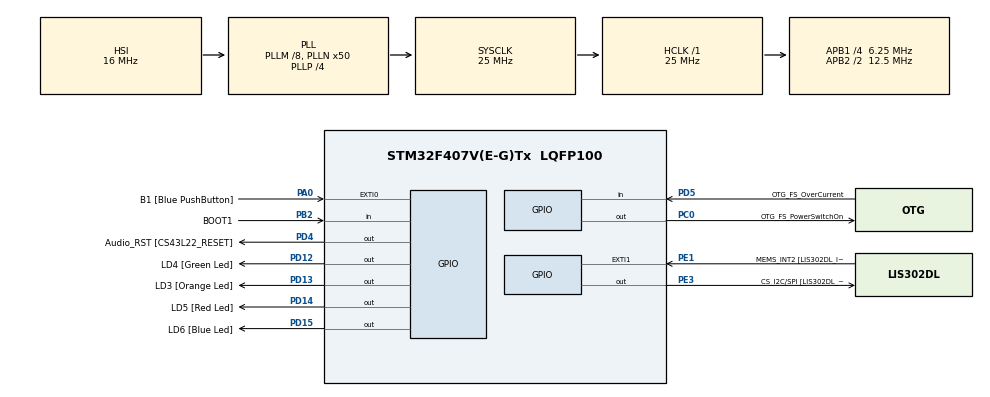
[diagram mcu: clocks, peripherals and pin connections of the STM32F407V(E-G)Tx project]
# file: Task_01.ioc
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Mcu.Family=STM32F4
Mcu.Name=STM32F407V(E-G)Tx
Mcu.Package=LQFP100
NVIC.PriorityGroup=NVIC_PRIORITYGROUP_4
NVIC.TIM6_DAC_IRQn=true\:0\:0\:false\:false\:true\:false\:true\:true
NVIC.TimeBase=TIM6_DAC_IRQn
NVIC.TimeBaseIP=TIM6
PA0-WKUP.GPIO_Label=B1 [Blue PushButton]
PA0-WKUP.Signal=GPXTI0
PA10.GPIO_Label=OTG_FS_ID
PA10.GPIO_Mode=GPIO_MODE_AF_PP
PA10.GPIO_PuPd=GPIO_NOPULL
PA10.GPIO_Speed=GPIO_SPEED_FREQ_LOW
PA10.Signal=USB_OTG_FS_ID
PA11.GPIO_Label=OTG_FS_DM
PA11.GPIO_Mode=GPIO_MODE_AF_PP
PA11.GPIO_PuPd=GPIO_NOPULL
PA11.GPIO_Speed=GPIO_SPEED_FREQ_LOW
PA11.Signal=USB_OTG_FS_DM
PA12.GPIO_Label=OTG_FS_DP
PA12.GPIO_Mode=GPIO_MODE_AF_PP
PA12.GPIO_PuPd=GPIO_NOPULL
PA12.GPIO_Speed=GPIO_SPEED_FREQ_LOW
PA12.Signal=USB_OTG_FS_DP
PA13.GPIO_Label=SWDIO
PA13.Signal=SYS_JTMS-SWDIO
PA14.GPIO_Label=SWCLK
PA14.Signal=SYS_JTCK-SWCLK
PA4.GPIO_Label=I2S3_WS [CS43L22_LRCK]
PA4.GPIO_Mode=GPIO_MODE_AF_PP
PA4.GPIO_PuPd=GPIO_NOPULL
PA4.GPIO_Speed=GPIO_SPEED_FREQ_LOW
PA4.Signal=I2S3_WS
PA5.GPIO_Label=SPI1_SCK [LIS302DL_SCL/SPC]
PA5.GPIO_Mode=GPIO_MODE_AF_PP
PA5.GPIO_PuPd=GPIO_NOPULL
PA5.GPIO_Speed=GPIO_SPEED_FREQ_LOW
PA5.Signal=SPI1_SCK
PA6.GPIO_Label=SPI1_MISO [LIS302DL_SDO]
PA6.GPIO_Mode=GPIO_MODE_AF_PP
PA6.GPIO_PuPd=GPIO_NOPULL
PA6.GPIO_Speed=GPIO_SPEED_FREQ_LOW
PA6.Signal=SPI1_MISO
PA7.GPIO_Label=SPI1_MOSI [LIS302DL_SDA/SDI/SDO]
PA7.GPIO_Mode=GPIO_MODE_AF_PP
PA7.GPIO_PuPd=GPIO_NOPULL
PA7.GPIO_Speed=GPIO_SPEED_FREQ_LOW
PA7.Signal=SPI1_MOSI
PA9.GPIO_Label=VBUS_FS
PA9.GPIO_Mode=GPIO_MODE_INPUT
PA9.GPIO_PuPd=GPIO_NOPULL
PA9.Signal=USB_OTG_FS_VBUS
PB10.GPIO_Label=CLK_IN [MP45DT02_CLK]
PB10.GPIO_Mode=GPIO_MODE_AF_PP
PB10.GPIO_PuPd=GPIO_NOPULL
PB10.GPIO_Speed=GPIO_SPEED_FREQ_LOW
PB10.Signal=I2S2_CK
PB2.GPIO_Label=BOOT1
PB2.GPIO_Mode=GPIO_MODE_INPUT
PB2.GPIO_PuPd=GPIO_NOPULL
PB2.Signal=GPIO_Input
PB3.GPIO_Label=SWO
PB3.Signal=SYS_JTDO-SWO
PB6.GPIO_Label=Audio_SCL [CS43L22_SCL]
PB6.GPIO_Mode=GPIO_MODE_AF_OD
PB6.GPIO_PuPd=GPIO_NOPULL
PB6.GPIO_Speed=GPIO_SPEED_FREQ_LOW
PB6.Signal=I2C1_SCL
PB9.GPIO_Label=Audio_SDA [CS43L22_SDA]
PB9.GPIO_Mode=GPIO_MODE_AF_OD
PB9.GPIO_PuPd=GPIO_NOPULL
PB9.GPIO_Speed=GPIO_SPEED_FREQ_LOW
PB9.Signal=I2C1_SDA
PC0.GPIO_Label=OTG_FS_PowerSwitchOn
PC0.GPIO_PuPd=GPIO_NOPULL
PC0.GPIO_Speed=GPIO_SPEED_FREQ_LOW
PC0.PinState=GPIO_PIN_SET
PC0.Signal=GPIO_Output
PC10.GPIO_Label=I2S3_SCK [CS43L22_SCLK]
PC10.GPIO_Mode=GPIO_MODE_AF_PP
PC10.GPIO_PuPd=GPIO_NOPULL
PC10.GPIO_Speed=GPIO_SPEED_FREQ_LOW
PC10.Signal=I2S3_CK
PC12.GPIO_Label=I2S3_SD [CS43L22_SDIN]
PC12.GPIO_Mode=GPIO_MODE_AF_PP
PC12.GPIO_PuPd=GPIO_NOPULL
PC12.GPIO_Speed=GPIO_SPEED_FREQ_LOW
PC12.Signal=I2S3_SD
PC14-OSC32_IN.GPIO_Label=PC14-OSC32_IN
PC14-OSC32_IN.Signal=RCC_OSC32_IN
PC15-OSC32_OUT.GPIO_Label=PC15-OSC32_OUT
PC15-OSC32_OUT.Signal=RCC_OSC32_OUT
PC3.GPIO_Label=PDM_OUT [MP45DT02_DOUT]
PC3.GPIO_Mode=GPIO_MODE_AF_PP
PC3.GPIO_PuPd=GPIO_NOPULL
PC3.GPIO_Speed=GPIO_SPEED_FREQ_LOW
PC3.Signal=I2S2_SD
PC7.GPIO_Label=I2S3_MCK [CS43L22_MCLK]
PC7.GPIO_Mode=GPIO_MODE_AF_PP
PC7.GPIO_PuPd=GPIO_NOPULL
PC7.GPIO_Speed=GPIO_SPEED_FREQ_LOW
PC7.Signal=I2S3_MCK
PD12.GPIO_Label=LD4 [Green Led]
PD12.GPIO_PuPd=GPIO_NOPULL
PD12.GPIO_Speed=GPIO_SPEED_FREQ_LOW
PD12.Signal=GPIO_Output
PD13.GPIO_Label=LD3 [Orange Led]
PD13.GPIO_PuPd=GPIO_NOPULL
PD13.GPIO_Speed=GPIO_SPEED_FREQ_LOW
PD13.Signal=GPIO_Output
PD14.GPIO_Label=LD5 [Red Led]
PD14.GPIO_PuPd=GPIO_NOPULL
PD14.GPIO_Speed=GPIO_SPEED_FREQ_LOW
PD14.Signal=GPIO_Output
PD15.GPIO_Label=LD6 [Blue Led]
PD15.GPIO_PuPd=GPIO_NOPULL
PD15.GPIO_Speed=GPIO_SPEED_FREQ_LOW
PD15.Signal=GPIO_Output
PD4.GPIO_Label=Audio_RST [CS43L22_RESET]
PD4.GPIO_PuPd=GPIO_NOPULL
PD4.GPIO_Speed=GPIO_SPEED_FREQ_LOW
PD4.Signal=GPIO_Output
PD5.GPIO_Label=OTG_FS_OverCurrent
PD5.GPIO_Mode=GPIO_MODE_INPUT
PD5.GPIO_PuPd=GPIO_NOPULL
PD5.Signal=GPIO_Input
PE1.GPIO_Label=MEMS_INT2 [LIS302DL_INT2]
PE1.GPIO_ModeDefaultEXTI=GPIO_MODE_EVT_RISING
PE1.GPIO_PuPd=GPIO_NOPULL
PE1.Signal=GPXTI1
PE3.GPIO_Label=CS_I2C/SPI [LIS302DL_CS_I2C/SPI]
PE3.GPIO_PuPd=GPIO_NOPULL
PE3.GPIO_Speed=GPIO_SPEED_FREQ_LOW
PE3.Signal=GPIO_Output
PH0-OSC_IN.GPIO_Label=PH0-OSC_IN
PH0-OSC_IN.Signal=RCC_OSC_IN
PH1-OSC_OUT.GPIO_Label=PH1-OSC_OUT
PH1-OSC_OUT.Signal=RCC_OSC_OUT
ProjectManager.HeapSize=0x200
ProjectManager.StackSize=0x400
ProjectManager.TargetToolchain=STM32CubeIDE
RCC.48MHZClocksFreq_Value=14285714.285714285
RCC.AHBFreq_Value=25000000
RCC.APB1CLKDivider=RCC_HCLK_DIV4
RCC.APB1Freq_Value=6250000
RCC.APB1TimFreq_Value=12500000
RCC.APB2CLKDivider=RCC_HCLK_DIV2
RCC.APB2Freq_Value=12500000
RCC.APB2TimFreq_Value=25000000
RCC.CortexFreq_Value=25000000
RCC.HCLKFreq_Value=25000000
RCC.HSE_VALUE=8000000
RCC.HSI_VALUE=16000000
RCC.LSE_VALUE=32768
RCC.PLLM=8
RCC.PLLN=50
RCC.PLLP=RCC_PLLP_DIV4
RCC.PLLQ=7
RCC.SYSCLKFreq_VALUE=25000000
RCC.SYSCLKSource=RCC_SYSCLKSOURCE_PLLCLK
RCC.VCOOutputFreq_Value=100000000
VP_SYS_VS_tim6.Mode=TIM6
board=STM32F407G-DISC1

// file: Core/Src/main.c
/* USER CODE BEGIN Header */
/**
  ******************************************************************************
  * @file           : main.c
  * @brief          : Main program body
  ******************************************************************************
  * @attention
  *
  * Copyright (c) 2025 STMicroelectronics.
  * All rights reserved.
  *
  * This software is licensed under terms that can be found in the LICENSE file
  * in the root directory of this software component.
  * If no LICENSE file comes with this software, it is provided AS-IS.
  *
  ******************************************************************************
  */
/* USER CODE END Header */
#include "main.h"

/* USER CODE BEGIN Includes */
#include "FreeRTOS.h"
#include "task.h"
#include <stdio.h>
/* USER CODE END Includes */

void SystemClock_Config(void);
static void MX_GPIO_Init(void);
/* USER CODE BEGIN PFP */

static void task1_handler(void* parameter);
static void task2_handler(void* parameter);
/* USER CODE END PFP */

/* USER CODE BEGIN 0 */

#define DWT_CTRL (*(volatile uint32_t*)0xE0001000)

/* USER CODE END 0 */

int main(void)
{

  /* USER CODE BEGIN 1 */
	TaskHandle_t task1_handle;
	TaskHandle_t task2_handle;

	BaseType_t status;
  /* USER CODE END 1 */

  /* MCU Configuration--------------------------------------------------------*/

  /* Reset of all peripherals, Initializes the Flash interface and the Systick. */
  HAL_Init();

  /* Configure the system clock */
  SystemClock_Config();

  /* Initialize all configured peripherals */
  MX_GPIO_Init();

  /* USER CODE BEGIN 2 */

  //Enable the CYCCNT counter

  DWT_CTRL |= (1<<0);

  SEGGER_SYSVIEW_Conf();
  SEGGER_SYSVIEW_Start();

  status = xTaskCreate(task1_handler,"Task-1",200,"Hello from task-1",2,&task1_handle);
  configASSERT(status == pdPASS);

  status = xTaskCreate(task2_handler,"Task-2",200,"Hello from task-2",2,&task2_handle);
  configASSERT(status == pdPASS);

  vTaskStartScheduler();

  /* USER CODE END 2 */

  /* Infinite loop */
  while (1)
  {

  }
}

void SystemClock_Config(void)
{
  RCC_OscInitTypeDef RCC_OscInitStruct = {0};
  RCC_ClkInitTypeDef RCC_ClkInitStruct = {0};

  /** Configure the main internal regulator output voltage
  */
  __HAL_RCC_PWR_CLK_ENABLE();
  __HAL_PWR_VOLTAGESCALING_CONFIG(PWR_REGULATOR_VOLTAGE_SCALE1);

  /** Initializes the RCC Oscillators according to the specified parameters
  * in the RCC_OscInitTypeDef structure.
  */
  RCC_OscInitStruct.OscillatorType = RCC_OSCILLATORTYPE_HSI;
  RCC_OscInitStruct.HSIState = RCC_HSI_ON;
  RCC_OscInitStruct.HSICalibrationValue = RCC_HSICALIBRATION_DEFAULT;
  RCC_OscInitStruct.PLL.PLLState = RCC_PLL_ON;
  RCC_OscInitStruct.PLL.PLLSource = RCC_PLLSOURCE_HSI;
  RCC_OscInitStruct.PLL.PLLM = 8;
  RCC_OscInitStruct.PLL.PLLN = 50;
  RCC_OscInitStruct.PLL.PLLP = RCC_PLLP_DIV4;
  RCC_OscInitStruct.PLL.PLLQ = 7;
  if (HAL_RCC_OscConfig(&RCC_OscInitStruct) != HAL_OK)
  {
    Error_Handler();
  }

  /** Initializes the CPU, AHB and APB buses clocks
  */
  RCC_ClkInitStruct.ClockType = RCC_CLOCKTYPE_HCLK|RCC_CLOCKTYPE_SYSCLK
                              |RCC_CLOCKTYPE_PCLK1|RCC_CLOCKTYPE_PCLK2;
  RCC_ClkInitStruct.SYSCLKSource = RCC_SYSCLKSOURCE_PLLCLK;
  RCC_ClkInitStruct.AHBCLKDivider = RCC_SYSCLK_DIV1;
  RCC_ClkInitStruct.APB1CLKDivider = RCC_HCLK_DIV4;
  RCC_ClkInitStruct.APB2CLKDivider = RCC_HCLK_DIV2;

  if (HAL_RCC_ClockConfig(&RCC_ClkInitStruct, FLASH_LATENCY_0) != HAL_OK)
  {
    Error_Handler();
  }
}

static void MX_GPIO_Init(void)
{
  GPIO_InitTypeDef GPIO_InitStruct = {0};

  /* GPIO Ports Clock Enable */
  __HAL_RCC_GPIOE_CLK_ENABLE();
  __HAL_RCC_GPIOC_CLK_ENABLE();
  __HAL_RCC_GPIOH_CLK_ENABLE();
  __HAL_RCC_GPIOA_CLK_ENABLE();
  __HAL_RCC_GPIOB_CLK_ENABLE();
  __HAL_RCC_GPIOD_CLK_ENABLE();

  /*Configure GPIO pin Output Level */
  HAL_GPIO_WritePin(CS_I2C_SPI_GPIO_Port, CS_I2C_SPI_Pin, GPIO_PIN_RESET);

  /*Configure GPIO pin Output Level */
  HAL_GPIO_WritePin(OTG_FS_PowerSwitchOn_GPIO_Port, OTG_FS_PowerSwitchOn_Pin, GPIO_PIN_SET);

  /*Configure GPIO pin Output Level */
  HAL_GPIO_WritePin(GPIOD, LD4_Pin|LD3_Pin|LD5_Pin|LD6_Pin
                          |Audio_RST_Pin, GPIO_PIN_RESET);

  /*Configure GPIO pin : CS_I2C_SPI_Pin */
  GPIO_InitStruct.Pin = CS_I2C_SPI_Pin;
  GPIO_InitStruct.Mode = GPIO_MODE_OUTPUT_PP;
  GPIO_InitStruct.Pull = GPIO_NOPULL;
  GPIO_InitStruct.Speed = GPIO_SPEED_FREQ_LOW;
  HAL_GPIO_Init(CS_I2C_SPI_GPIO_Port, &GPIO_InitStruct);

  /*Configure GPIO pin : OTG_FS_PowerSwitchOn_Pin */
  GPIO_InitStruct.Pin = OTG_FS_PowerSwitchOn_Pin;
  GPIO_InitStruct.Mode = GPIO_MODE_OUTPUT_PP;
  GPIO_InitStruct.Pull = GPIO_NOPULL;
  GPIO_InitStruct.Speed = GPIO_SPEED_FREQ_LOW;
  HAL_GPIO_Init(OTG_FS_PowerSwitchOn_GPIO_Port, &GPIO_InitStruct);

  /*Configure GPIO pin : PDM_OUT_Pin */
  GPIO_InitStruct.Pin = PDM_OUT_Pin;
  GPIO_InitStruct.Mode = GPIO_MODE_AF_PP;
  GPIO_InitStruct.Pull = GPIO_NOPULL;
  GPIO_InitStruct.Speed = GPIO_SPEED_FREQ_LOW;
  GPIO_InitStruct.Alternate = GPIO_AF5_SPI2;
  HAL_GPIO_Init(PDM_OUT_GPIO_Port, &GPIO_InitStruct);

  /*Configure GPIO pin : B1_Pin */
  GPIO_InitStruct.Pin = B1_Pin;
  GPIO_InitStruct.Mode = GPIO_MODE_IT_RISING;
  GPIO_InitStruct.Pull = GPIO_NOPULL;
  HAL_GPIO_Init(B1_GPIO_Port, &GPIO_InitStruct);

  /*Configure GPIO pin : I2S3_WS_Pin */
  GPIO_InitStruct.Pin = I2S3_WS_Pin;
  GPIO_InitStruct.Mode = GPIO_MODE_AF_PP;
  GPIO_InitStruct.Pull = GPIO_NOPULL;
  GPIO_InitStruct.Speed = GPIO_SPEED_FREQ_LOW;
  GPIO_InitStruct.Alternate = GPIO_AF6_SPI3;
  HAL_GPIO_Init(I2S3_WS_GPIO_Port, &GPIO_InitStruct);

  /*Configure GPIO pins : SPI1_SCK_Pin SPI1_MISO_Pin SPI1_MOSI_Pin */
  GPIO_InitStruct.Pin = SPI1_SCK_Pin|SPI1_MISO_Pin|SPI1_MOSI_Pin;
  GPIO_InitStruct.Mode = GPIO_MODE_AF_PP;
  GPIO_InitStruct.Pull = GPIO_NOPULL;
  GPIO_InitStruct.Speed = GPIO_SPEED_FREQ_LOW;
  GPIO_InitStruct.Alternate = GPIO_AF5_SPI1;
  HAL_GPIO_Init(GPIOA, &GPIO_InitStruct);

  /*Configure GPIO pin : BOOT1_Pin */
  GPIO_InitStruct.Pin = BOOT1_Pin;
  GPIO_InitStruct.Mode = GPIO_MODE_INPUT;
  GPIO_InitStruct.Pull = GPIO_NOPULL;
  HAL_GPIO_Init(BOOT1_GPIO_Port, &GPIO_InitStruct);

  /*Configure GPIO pin : CLK_IN_Pin */
  GPIO_InitStruct.Pin = CLK_IN_Pin;
  GPIO_InitStruct.Mode = GPIO_MODE_AF_PP;
  GPIO_InitStruct.Pull = GPIO_NOPULL;
  GPIO_InitStruct.Speed = GPIO_SPEED_FREQ_LOW;
  GPIO_InitStruct.Alternate = GPIO_AF5_SPI2;
  HAL_GPIO_Init(CLK_IN_GPIO_Port, &GPIO_InitStruct);

  /*Configure GPIO pins : LD4_Pin LD3_Pin LD5_Pin LD6_Pin
                           Audio_RST_Pin */
  GPIO_InitStruct.Pin = LD4_Pin|LD3_Pin|LD5_Pin|LD6_Pin
                          |Audio_RST_Pin;
  GPIO_InitStruct.Mode = GPIO_MODE_OUTPUT_PP;
  GPIO_InitStruct.Pull = GPIO_NOPULL;
  GPIO_InitStruct.Speed = GPIO_SPEED_FREQ_LOW;
  HAL_GPIO_Init(GPIOD, &GPIO_InitStruct);

  /*Configure GPIO pins : I2S3_MCK_Pin I2S3_SCK_Pin I2S3_SD_Pin */
  GPIO_InitStruct.Pin = I2S3_MCK_Pin|I2S3_SCK_Pin|I2S3_SD_Pin;
  GPIO_InitStruct.Mode = GPIO_MODE_AF_PP;
  GPIO_InitStruct.Pull = GPIO_NOPULL;
  GPIO_InitStruct.Speed = GPIO_SPEED_FREQ_LOW;
  GPIO_InitStruct.Alternate = GPIO_AF6_SPI3;
  HAL_GPIO_Init(GPIOC, &GPIO_InitStruct);

  /*Configure GPIO pin : VBUS_FS_Pin */
  GPIO_InitStruct.Pin = VBUS_FS_Pin;
  GPIO_InitStruct.Mode = GPIO_MODE_INPUT;
  GPIO_InitStruct.Pull = GPIO_NOPULL;
  HAL_GPIO_Init(VBUS_FS_GPIO_Port, &GPIO_InitStruct);

  /*Configure GPIO pins : OTG_FS_ID_Pin OTG_FS_DM_Pin OTG_FS_DP_Pin */
  GPIO_InitStruct.Pin = OTG_FS_ID_Pin|OTG_FS_DM_Pin|OTG_FS_DP_Pin;
  GPIO_InitStruct.Mode = GPIO_MODE_AF_PP;
  GPIO_InitStruct.Pull = GPIO_NOPULL;
  GPIO_InitStruct.Speed = GPIO_SPEED_FREQ_LOW;
  GPIO_InitStruct.Alternate = GPIO_AF10_OTG_FS;
  HAL_GPIO_Init(GPIOA, &GPIO_InitStruct);

  /*Configure GPIO pin : OTG_FS_OverCurrent_Pin */
  GPIO_InitStruct.Pin = OTG_FS_OverCurrent_Pin;
  GPIO_InitStruct.Mode = GPIO_MODE_INPUT;
  GPIO_InitStruct.Pull = GPIO_NOPULL;
  HAL_GPIO_Init(OTG_FS_OverCurrent_GPIO_Port, &GPIO_InitStruct);

  /*Configure GPIO pins : Audio_SCL_Pin Audio_SDA_Pin */
  GPIO_InitStruct.Pin = Audio_SCL_Pin|Audio_SDA_Pin;
  GPIO_InitStruct.Mode = GPIO_MODE_AF_OD;
  GPIO_InitStruct.Pull = GPIO_NOPULL;
  GPIO_InitStruct.Speed = GPIO_SPEED_FREQ_LOW;
  GPIO_InitStruct.Alternate = GPIO_AF4_I2C1;
  HAL_GPIO_Init(GPIOB, &GPIO_InitStruct);

  /*Configure GPIO pin : MEMS_INT2_Pin */
  GPIO_InitStruct.Pin = MEMS_INT2_Pin;
  GPIO_InitStruct.Mode = GPIO_MODE_EVT_RISING;
  GPIO_InitStruct.Pull = GPIO_NOPULL;
  HAL_GPIO_Init(MEMS_INT2_GPIO_Port, &GPIO_InitStruct);

}

/* USER CODE BEGIN 4 */
static void task1_handler(void *parameter)
{
	char msg[100];
	while(1)
	{
//		printf("%s\n",(char*)parameter);
		snprintf(msg,100,"%s\n",(char*)parameter);
		SEGGER_SYSVIEW_PrintfTarget(msg);
		taskYIELD();
	}
}

static void task2_handler(void *parameter)
{
	char msg[100];
	while(1)
	{
//		printf("%s\n",(char*)parameter);
		snprintf(msg,100,"%s\n",(char*)parameter);
		SEGGER_SYSVIEW_PrintfTarget(msg);
		taskYIELD();
	}
}
/* USER CODE END 4 */

void HAL_TIM_PeriodElapsedCallback(TIM_HandleTypeDef *htim)
{
  if (htim->Instance == TIM6) {
    HAL_IncTick();
  }
}

void Error_Handler(void)
{
  __disable_irq();
  while (1)
  {
  }
}
